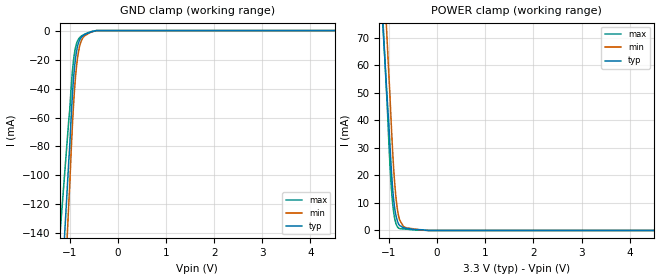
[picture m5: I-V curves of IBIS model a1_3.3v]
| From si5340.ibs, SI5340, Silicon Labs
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[Model]   a1_3.3v
Model_type Input
Vinl=9.900E-01
Vinh=2.310E+00
C_comp   8.200E-13   7.920E-13   8.480E-13
[Voltage Range]   3.300E+00   3.135E+00   3.465E+00
[POWER Clamp Reference]   3.300E+00   3.135E+00   3.465E+00
[GND Clamp Reference]   0.000E+00   0.000E+00   0.000E+00
[Temperature Range]   25   85   -40
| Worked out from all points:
|   GND clamp passes 1 mA (typ) near -0.56 V on its own axis
|   POWER clamp passes 1 mA (typ) near -0.70 V on its own axis
[GND Clamp]
-3.3V     -1.436A    -1.717A    -1.045A
-1.02V    -89.67mA   -118.9mA   -61.49mA
-1V       -79.39mA   -106.1mA   -54.31mA
-960mV    -52.63mA   -75.46mA   -34.11mA
-940mV    -41.54mA   -62.01mA   -26.18mA
-920mV    -32.26mA   -50.2mA    -19.87mA
-880mV    -18.89mA   -31.67mA   -11.54mA
-840mV    -11.04mA   -19.21mA   -7.246mA
-800mV    -6.875mA   -11.49mA   -5.071mA
-700mV    -2.952mA   -3.837mA   -2.595mA
-440mV    0A         0A         0A
6.6V      0A         0A         0A
[Power Clamp]
-3.3V     710.5mA    859.6mA    855.8mA
-1.06V    54.73mA    76.68mA    53.22mA
-1.04V    48.87mA    69.71mA    46.76mA
-980mV    31.13mA    49.18mA    23.97mA
-960mV    24.79mA    41.47mA    17.91mA
-920mV    14.46mA    27.6mA     9.214mA
-860mV    5.881mA    12.9mA     2.789mA
-820mV    3.156mA    7.135mA    1.225mA
-780mV    1.83mA     3.874mA    684.6uA
-640mV    791.9uA    991.2uA    488.1uA
-180mV    0A         0A         0A
6.6V      0A         0A         0A
